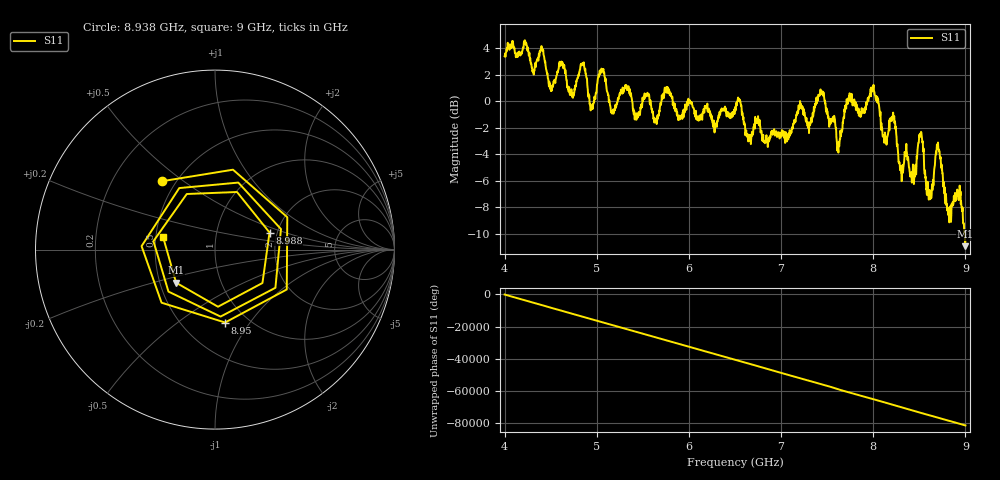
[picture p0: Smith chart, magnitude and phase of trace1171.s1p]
! Created with skrf 1.8.0 (http://scikit-rf.org).
# Hz S RI R 50.0
!freq ReS11 ImS11
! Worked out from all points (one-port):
!   1601 points, 4 GHz to 9 GHz, reference 50 ohm
!   lowest |S11| = -10.9 dB at 8.997 GHz (marker M1), VSWR 1.80, Z = 30.3 - j12.2 ohm
!   |S11| at or under -10 dB: 8.994209 GHz to end of sweep
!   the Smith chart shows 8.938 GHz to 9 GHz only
!   S11 on the Smith chart (normalised r, x): 8.938 GHz: 0.42, +0.42; 8.95 GHz: 0.79, -0.77; 8.988 GHz: 1.82, +0.39; 9 GHz: 0.55, +0.08
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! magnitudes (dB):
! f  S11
! 4 GHz  3.4
! 4.625 GHz  2.9
! 4.731 GHz  0.5
! 4.85 GHz  2.9
! 4.947 GHz  -0.5
! 5.053 GHz  2.4
! 5.166 GHz  -0.9
! 5.25 GHz  0.5
! 5.875 GHz  -1.1
! 6.5 GHz  -0.4
! 6.65 GHz  -3.0
! 7.125 GHz  -2.1
! 7.441 GHz  0.6
! 7.625 GHz  -3.1
! 7.75 GHz  0.2
! 7.997 GHz  0.9
! 8.122 GHz  -2.8
! 8.375 GHz  -4.4
! 8.441 GHz  -6.2
! 8.512 GHz  -2.4
! 8.606 GHz  -6.7
! 8.7 GHz  -3.5
! 8.822 GHz  -8.8
! 8.938 GHz  -6.4
! 8.95 GHz  -7.7
! 8.988 GHz  -9.9
! 8.997 GHz  -10.9
! 9 GHz  -10.6
